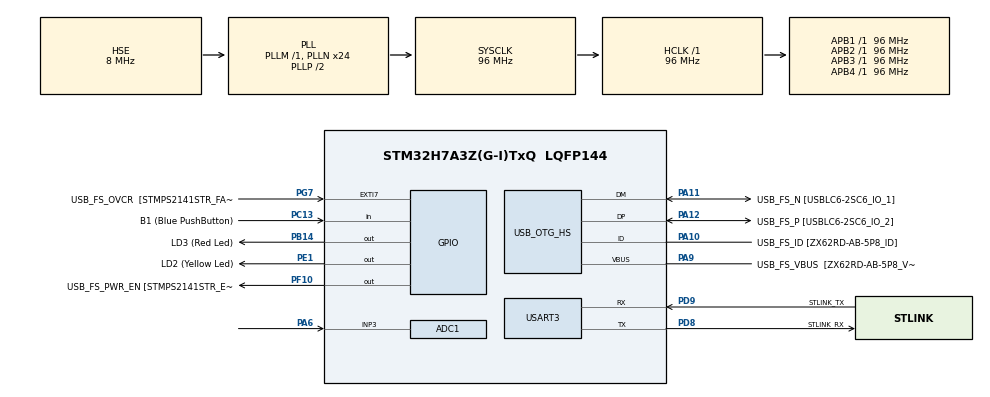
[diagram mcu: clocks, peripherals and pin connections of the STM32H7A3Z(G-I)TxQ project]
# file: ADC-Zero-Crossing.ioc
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ADC1.Channel-0\#ChannelRegularConversion=ADC_CHANNEL_3
ADC1.NbrOfConversionFlag=1
ADC1.OffsetNumber-0\#ChannelRegularConversion=ADC_OFFSET_NONE
ADC1.OffsetSignedSaturation-0\#ChannelRegularConversion=DISABLE
ADC1.Rank-0\#ChannelRegularConversion=1
ADC1.SamplingTime-0\#ChannelRegularConversion=ADC_SAMPLETIME_1CYCLE_5
ADC1.master=1
FREERTOS.Tasks01=defaultTask,24,128,StartDefaultTask,Default,NULL,Dynamic,NULL,NULL
FREERTOS.configUSE_NEWLIB_REENTRANT=1
Mcu.Family=STM32H7
Mcu.Name=STM32H7A3Z(G-I)TxQ
Mcu.Package=LQFP144
NVIC.PriorityGroup=NVIC_PRIORITYGROUP_4
NVIC.TIM6_DAC_IRQn=true\:15\:0\:false\:false\:true\:false\:false\:true\:true
NVIC.TimeBase=TIM6_DAC_IRQn
NVIC.TimeBaseIP=TIM6
PA10.GPIO_Label=USB_FS_ID [ZX62RD-AB-5P8_ID]
PA10.Mode=OTG/Dual-Role-Device-FS
PA10.Signal=USB_OTG_HS_ID
PA11.GPIO_Label=USB_FS_N [USBLC6-2SC6_IO_1]
PA11.Mode=OTG/Dual-Role-Device-FS
PA11.Signal=USB_OTG_HS_DM
PA12.GPIO_Label=USB_FS_P [USBLC6-2SC6_IO_2]
PA12.Mode=OTG/Dual-Role-Device-FS
PA12.Signal=USB_OTG_HS_DP
PA6.Signal=ADCx_INP3
PA9.GPIO_Label=USB_FS_VBUS  [ZX62RD-AB-5P8_VBUS]
PA9.Mode=Activate_VBUS_FS
PA9.Signal=USB_OTG_HS_VBUS
PB14.GPIO_Label=LD3 (Red Led)
PB14.Signal=GPIO_Output
PC13.GPIO_Label=B1 (Blue PushButton)
PC13.Signal=GPIO_Input
PC14-OSC32_IN.GPIO_Label=OSC32_IN
PC14-OSC32_IN.Mode=LSE-External-Oscillator
PC14-OSC32_IN.Signal=RCC_OSC32_IN
PC15-OSC32_OUT.GPIO_Label=OSC32_OUT
PC15-OSC32_OUT.Mode=LSE-External-Oscillator
PC15-OSC32_OUT.Signal=RCC_OSC32_OUT
PD8.GPIO_Label=STLINK_RX
PD8.Mode=Asynchronous
PD8.Signal=USART3_TX
PD9.GPIO_Label=STLINK_TX
PD9.Mode=Asynchronous
PD9.Signal=USART3_RX
PE1.GPIO_Label=LD2 (Yellow Led)
PE1.Signal=GPIO_Output
PF10.GPIO_Label=USB_FS_PWR_EN [STMPS2141STR_EN]
PF10.Signal=GPIO_Output
PG7.GPIO_Label=USB_FS_OVCR  [STMPS2141STR_FAULT]
PG7.Signal=GPXTI7
PH0-OSC_IN.GPIO_Label=PH0-MCU
PH0-OSC_IN.Mode=HSE-External-Clock-Source
PH0-OSC_IN.Signal=RCC_OSC_IN
PH1-OSC_OUT.GPIO_Label=PH1-MCU
PH1-OSC_OUT.Signal=RCC_OSC_OUT
ProjectManager.HeapSize=0x200
ProjectManager.StackSize=0x400
ProjectManager.TargetToolchain=STM32CubeIDE
RCC.ADCFreq_Value=42666666.666666664
RCC.APB1Freq_Value=96000000
RCC.APB2Freq_Value=96000000
RCC.APB3Freq_Value=96000000
RCC.APB4Freq_Value=96000000
RCC.CortexFreq_Value=96000000
RCC.DIVM1=1
RCC.DIVM2=1
RCC.DIVM3=1
RCC.DIVN1=24
RCC.DIVN2=16
RCC.DIVN3=24
RCC.DIVP2=3
RCC.DIVQ1=4
RCC.HCLKFreq_Value=96000000
RCC.HSE_VALUE=8000000
RCC.PLL2FRACN=0
RCC.PLLFRACN=0
RCC.PLLSourceVirtual=RCC_PLLSOURCE_HSE
RCC.PWR_Regulator_Voltage_Scale=PWR_REGULATOR_VOLTAGE_SCALE0
RCC.SYSCLKFreq_VALUE=96000000
RCC.SYSCLKSource=RCC_SYSCLKSOURCE_PLLCLK
RCC.SupplySource=PWR_DIRECT_SMPS_SUPPLY
RCC.USBCLockSelection=RCC_USBCLKSOURCE_HSI48
RCC.USBFreq_Value=48000000
SH.ADCx_INP3.0=ADC1_INP3,IN3-Single-Ended
USART3.VirtualMode-Asynchronous=VM_ASYNC
VP_FREERTOS_VS_CMSIS_V2.Mode=CMSIS_V2
VP_SYS_VS_tim6.Mode=TIM6
board=NUCLEO-H7A3ZI-Q

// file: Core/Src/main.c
/* USER CODE BEGIN Header */
/**
  ******************************************************************************
  * @file           : main.c
  * @brief          : Main program body
  ******************************************************************************
  * @attention
  *
  * Copyright (c) 2025 STMicroelectronics.
  * All rights reserved.
  *
  * This software is licensed under terms that can be found in the LICENSE file
  * in the root directory of this software component.
  * If no LICENSE file comes with this software, it is provided AS-IS.
  *
  ******************************************************************************
  */
/* USER CODE END Header */
#include "main.h"
#include "cmsis_os.h"
#include "adc.h"
#include "usart.h"
#include "usb_otg.h"
#include "gpio.h"

void SystemClock_Config(void);
void MX_FREERTOS_Init(void);

int main(void)
{

  /* MCU Configuration--------------------------------------------------------*/

  /* Reset of all peripherals, Initializes the Flash interface and the Systick. */
  HAL_Init();

  /* Configure the system clock */
  SystemClock_Config();

  /* Initialize all configured peripherals */
  MX_GPIO_Init();
  MX_ADC1_Init();
  MX_USART3_UART_Init();
  MX_USB_OTG_HS_USB_Init();

  /* Init scheduler */
  osKernelInitialize();

  /* Call init function for freertos objects (in cmsis_os2.c) */
  MX_FREERTOS_Init();

  /* Start scheduler */
  osKernelStart();

  /* We should never get here as control is now taken by the scheduler */

  /* Infinite loop */
  while (1)
  {

  }
}

void SystemClock_Config(void)
{
  RCC_OscInitTypeDef RCC_OscInitStruct = {0};
  RCC_ClkInitTypeDef RCC_ClkInitStruct = {0};

  /*AXI clock gating */
  RCC->CKGAENR = 0xFFFFFFFF;

  /** Supply configuration update enable
  */
  HAL_PWREx_ConfigSupply(PWR_DIRECT_SMPS_SUPPLY);

  /** Configure the main internal regulator output voltage
  */
  __HAL_PWR_VOLTAGESCALING_CONFIG(PWR_REGULATOR_VOLTAGE_SCALE0);

  while(!__HAL_PWR_GET_FLAG(PWR_FLAG_VOSRDY)) {}

  /** Initializes the RCC Oscillators according to the specified parameters
  * in the RCC_OscInitTypeDef structure.
  */
  RCC_OscInitStruct.OscillatorType = RCC_OSCILLATORTYPE_HSI48|RCC_OSCILLATORTYPE_HSE;
  RCC_OscInitStruct.HSEState = RCC_HSE_BYPASS;
  RCC_OscInitStruct.HSI48State = RCC_HSI48_ON;
  RCC_OscInitStruct.PLL.PLLState = RCC_PLL_ON;
  RCC_OscInitStruct.PLL.PLLSource = RCC_PLLSOURCE_HSE;
  RCC_OscInitStruct.PLL.PLLM = 1;
  RCC_OscInitStruct.PLL.PLLN = 24;
  RCC_OscInitStruct.PLL.PLLP = 2;
  RCC_OscInitStruct.PLL.PLLQ = 4;
  RCC_OscInitStruct.PLL.PLLR = 2;
  RCC_OscInitStruct.PLL.PLLRGE = RCC_PLL1VCIRANGE_3;
  RCC_OscInitStruct.PLL.PLLVCOSEL = RCC_PLL1VCOWIDE;
  RCC_OscInitStruct.PLL.PLLFRACN = 0;
  if (HAL_RCC_OscConfig(&RCC_OscInitStruct) != HAL_OK)
  {
    Error_Handler();
  }

  /** Initializes the CPU, AHB and APB buses clocks
  */
  RCC_ClkInitStruct.ClockType = RCC_CLOCKTYPE_HCLK|RCC_CLOCKTYPE_SYSCLK
                              |RCC_CLOCKTYPE_PCLK1|RCC_CLOCKTYPE_PCLK2
                              |RCC_CLOCKTYPE_D3PCLK1|RCC_CLOCKTYPE_D1PCLK1;
  RCC_ClkInitStruct.SYSCLKSource = RCC_SYSCLKSOURCE_PLLCLK;
  RCC_ClkInitStruct.SYSCLKDivider = RCC_SYSCLK_DIV1;
  RCC_ClkInitStruct.AHBCLKDivider = RCC_HCLK_DIV1;
  RCC_ClkInitStruct.APB3CLKDivider = RCC_APB3_DIV1;
  RCC_ClkInitStruct.APB1CLKDivider = RCC_APB1_DIV1;
  RCC_ClkInitStruct.APB2CLKDivider = RCC_APB2_DIV1;
  RCC_ClkInitStruct.APB4CLKDivider = RCC_APB4_DIV1;

  if (HAL_RCC_ClockConfig(&RCC_ClkInitStruct, FLASH_LATENCY_2) != HAL_OK)
  {
    Error_Handler();
  }
}

void HAL_TIM_PeriodElapsedCallback(TIM_HandleTypeDef *htim)
{
  if (htim->Instance == TIM6) {
    HAL_IncTick();
  }
}

void Error_Handler(void)
{
  __disable_irq();
  while (1)
  {
  }
}

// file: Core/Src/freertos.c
/* USER CODE BEGIN Header */
/**
  ******************************************************************************
  * File Name          : freertos.c
  * Description        : Code for freertos applications
  ******************************************************************************
  * @attention
  *
  * Copyright (c) 2025 STMicroelectronics.
  * All rights reserved.
  *
  * This software is licensed under terms that can be found in the LICENSE file
  * in the root directory of this software component.
  * If no LICENSE file comes with this software, it is provided AS-IS.
  *
  ******************************************************************************
  */
/* USER CODE END Header */

#include "FreeRTOS.h"
#include "task.h"
#include "main.h"
#include "cmsis_os.h"

/* USER CODE BEGIN Includes */
#include <stdio.h>
#include <math.h>
#include "adc.h"
/* USER CODE END Includes */

/* USER CODE BEGIN Variables */

/*
 * #PROJECT GOAL
 * Create a system to acquire a signal through ADC (Analog to Digital Converter)
 * The sampling frequency must be 1kHz.
 * When the number of acquired samples reach 500, the data must be copied from one buffer to another.
 * The entire system must work in FreeRTOS.
 * Every 500 samples we want to estimate the signal frequency using the zero crossing method.
 * (suppose the signal is sinusoidal and it's generated from the outside)
 * The result must be send to the asynchronous serial port.
 *
 * #INPUT
 * In STM32CubeMx the ADC1: IN13 Single-ended was activated
 * The ADC input pin is PA6
 * The voltage range is 0V to 3.3V
 *
 * #OUTPUT
 * The estimated signal frequency (expressed in Hz) is provided using the UART3 serial port
 *
 * #PROGRAM STRUCTURE
 * This program is composed of:
 *  - 3 RTOS Tasks (Idle Task, Frequency Estimation Task and Serial Print Task)
 * 	- 2 buffers (one used for sampling, one used for frequency estimation)
 * 	- 1 RTOS periodic Timer (used to trigger a signal sampling)
 * 	- 1 RTOS binary Semaphore (used to signal that we reach the number of samples needed for the frequency estimation)
 * 	- 1 RTOS Queue (used to communicate the estimated frequency to the Serial Print task)
 * 	- 1 Timer Callback (handles the ADC conversion and writes the result to the buffer)
 * 	- 1 Utility Function (used to copy the content of the ADC buffer to the processing buffer)
 *
 * */

typedef struct {
	unsigned long int iter;
	float freq;
}xMessage;

// Number of samples required for the frequency estimation
#define NUM_SAMPLES 500
// The frequency used to sample the input signal
#define SAMPLING_FREQUENCY_HZ 1000
// Queue Length
#define SERIAL_QUEUE_MAX_MSG 10

uint32_t adc_buffer[NUM_SAMPLES];
uint32_t processing_buffer[NUM_SAMPLES];
volatile int current_sample_n = 0;

// Sampling Timer
osTimerId_t xTimer;
osStatus_t xTimerStatus;

osSemaphoreId_t xProcessingSemaphore;

osMessageQueueId_t xSerialQueue;

// The Frequency Estimation Task has priority 25
const osThreadAttr_t frequencyEstimationTask_attribute = {
  .name = "frequencyEstimationTask",
  .stack_size = 128 * 4,
  .priority = (osPriority_t) osPriorityNormal1,
};

// The Serial Print Task has priority 26
const osThreadAttr_t serialPrintTask_attribute = {
  .name = "serialPrintTask",
  .stack_size = 128 * 4,
  .priority = (osPriority_t) osPriorityNormal2,
};

// Uncomment the following define statement to enable TESTMODE
// In TESTMODE vADC_Acquire function will generate synthetic samples instead of reading from the ADC
//#define TESTMODE
#ifdef TESTMODE
#define PI 3.14159265359
#define	SIN_FREQUENCY_HZ 143.67
#define PHASE 0
uint32_t n = 0;
uint32_t generateTestSinSignal(){
	float value = sin(2.0 * PI * ((float)SIN_FREQUENCY_HZ) * ((float)n) *(1.0/((float)SAMPLING_FREQUENCY_HZ)) + ((float)PHASE));
	// scaled to the interval [0, 1]
	double scaledValue = (value + 1.0)/2.0;
	n++;
	// return values from the interval [0, 65536]
	return (uint32_t)(65536 * scaledValue);
}
#endif

/* USER CODE END Variables */
/* Definitions for defaultTask */
osThreadId_t defaultTaskHandle;
const osThreadAttr_t defaultTask_attributes = {
  .name = "defaultTask",
  .stack_size = 128 * 4,
  .priority = (osPriority_t) osPriorityNormal,
};

/* USER CODE BEGIN FunctionPrototypes */

void vCopyBuffer();

void vADC_Acquire();

void vFrequencyEstimationTask(void *pvParameters);

void vSerialPrintTask(void *pvParameters);

/* USER CODE END FunctionPrototypes */

void StartDefaultTask(void *argument);

void MX_FREERTOS_Init(void); /* (MISRA C 2004 rule 8.1) */

void MX_FREERTOS_Init(void) {

  /* USER CODE BEGIN RTOS_SEMAPHORES */
  /* add semaphores, ... */
	xProcessingSemaphore = osSemaphoreNew(1, 0, NULL);
  /* USER CODE END RTOS_SEMAPHORES */

  /* USER CODE BEGIN RTOS_TIMERS */
  /* start timers, add new ones, ... */
	xTimer = osTimerNew(vADC_Acquire, osTimerPeriodic, NULL, NULL);
  /* USER CODE END RTOS_TIMERS */

  /* USER CODE BEGIN RTOS_QUEUES */
  /* add queues, ... */
	xSerialQueue = osMessageQueueNew(SERIAL_QUEUE_MAX_MSG, sizeof(xMessage), NULL);
  /* USER CODE END RTOS_QUEUES */

  /* Create the thread(s) */
  /* creation of defaultTask */
  defaultTaskHandle = osThreadNew(StartDefaultTask, NULL, &defaultTask_attributes);

  /* USER CODE BEGIN RTOS_THREADS */
  /* add threads, ... */
  xTimerStatus = osTimerStart(xTimer, pdMS_TO_TICKS((1.0/(float)SAMPLING_FREQUENCY_HZ)*1000));
  if(xTimerStatus == osOK && xProcessingSemaphore != NULL && xSerialQueue != NULL){
	  osThreadNew(vFrequencyEstimationTask, NULL, &frequencyEstimationTask_attribute);
	  osThreadNew(vSerialPrintTask, NULL, &serialPrintTask_attribute);
  }
  /* USER CODE END RTOS_THREADS */

}

void StartDefaultTask(void *argument)
{
  for(;;)
  {
    osDelay(1);
  }
}

/* USER CODE BEGIN Application */

void vCopyBuffer(){
	for(int i=0; i < NUM_SAMPLES; i++){
		processing_buffer[i] = adc_buffer[i];
	}
}

// The Timer Callback function
void vADC_Acquire(){
	uint32_t value = 0;
#ifdef TESTMODE
	// Generate synthetic sinusoidal samples
	value = generateTestSinSignal();
#else
	// Read value from ADC
	HAL_ADC_Start(&hadc1);
	HAL_ADC_PollForConversion(&hadc1, 0);
	value = HAL_ADC_GetValue(&hadc1);
#endif
	adc_buffer[current_sample_n] = value;
	current_sample_n++;
	if(current_sample_n == NUM_SAMPLES){
		current_sample_n = 0;
		osSemaphoreRelease(xProcessingSemaphore);
	}
}

void vFrequencyEstimationTask(void *pvParameters){
	unsigned long int iteractions = 0;
	unsigned long int zero_crossing;
	//The ADC use 16bits (0V->0  3.3V->65536)
	unsigned long int logical_zero = 32768; // =(2^16)/2  indicates the logical zero (in this case 1.65V)
	// Represent the duration in seconds of the sampling process
	float sampling_period = (float)NUM_SAMPLES / (float)SAMPLING_FREQUENCY_HZ;
	float frequency;

	while(1){
		osSemaphoreAcquire(xProcessingSemaphore, osWaitForever);
		vCopyBuffer();
		// calculate the number of times the signal pass through the logical zero
		zero_crossing = 0;
		for(int i=1; i<NUM_SAMPLES; i++){
			unsigned long int prev = processing_buffer[i-1];
			unsigned long int curr = processing_buffer[i];
			if ((prev < logical_zero && curr >= logical_zero) || (prev > logical_zero && curr <= logical_zero)){
				zero_crossing++;
			}
		}
		// A sinusoidal wave cycle has 2 zero crossing
		// The frequency is define as the number of cycles divided by the period
		// in the sinusoidal case each cycle has 2 zero crossing (raising zero and falling zero)
		// so to find the number of cycles we need to divide the number of zero crossing by a factor 2
		frequency = ((float)zero_crossing/2.0) / sampling_period;
		xMessage msg = {.iter = iteractions, .freq = frequency};
		iteractions++;
		osMessageQueuePut(xSerialQueue, &msg, 0, 0);
	}
}

void vSerialPrintTask(void *pvParameters){
	xMessage msg;
	unsigned long int lowBound;
	unsigned long int upperBound;
	while(1){
		osMessageQueueGet(xSerialQueue, &msg, 0, osWaitForever);
		lowBound = msg.iter * NUM_SAMPLES;
		upperBound = lowBound + NUM_SAMPLES - 1;
		printf("Samples [%lu - %lu] Estimated Frequency = %.2f Hz\r\n", lowBound, upperBound, msg.freq);
	}
}

/* USER CODE END Application */
